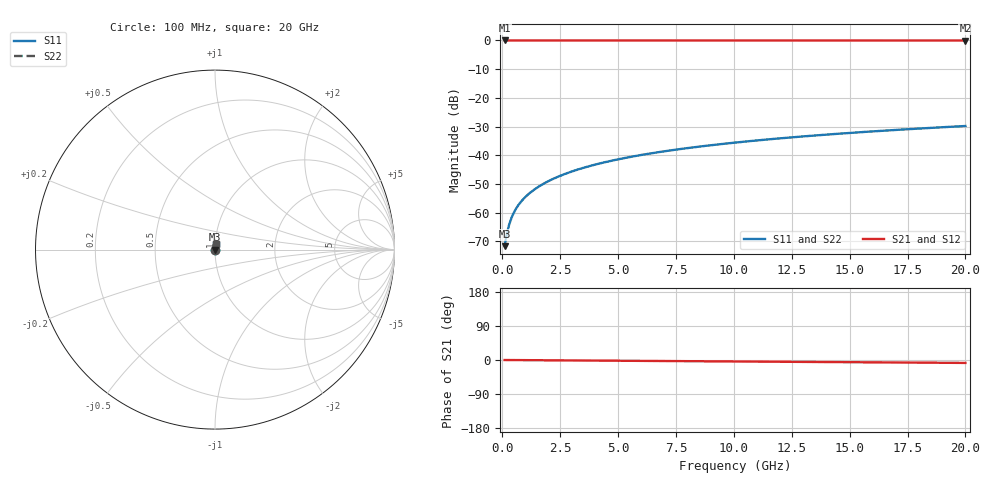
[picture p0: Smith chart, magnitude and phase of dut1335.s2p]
! Touchstone file exported from HFSS 2026.1.0
!  File:  C:/ffzhzh/LocalFiles/Ansys_Project_Files/temp_train_TSV_1335_1783195459_22436.aedt
!  Generated:  04:05:42 AM Jul  5, 2026
!  Design:  TSV
!  Project:  temp_train_TSV_1335_1783195459_22436
! Variables:
!  h_bsmrdl = 2um
!  h_ox = 20um
!  h_rdl = 5um
!  h_sub = 72.79um
!  h_tmrdl = 5um
!  h_tsv = 72.79um
!  h_via = 3um
!  l_bsmrdl = 300um
!  l_sub = 415.98um
!  l_tmrdl = 200um
!  m_sub = 200um
!  pitch = 43.69um
!  r_tsv = 7.99um
!  s_tmrdl = 10um
!  w_bsmrdl = 18um
!  w_sub = 500um
!  w_tmrdl = 12um
!  x_tsv_center1 = 206um
!  x_tsv_center2 = 524um
!  x_tsv_center3 = 736um
!  x_tsv_center4 = 1054um
!  x_tsv_center5 = 1266um
!  x_tsv_center6 = 1584um
# GHz S MA R 50.000000
! Terminal data exported
! Port[1] = TSV1_1_T1
! Port[2] = TSV1_1_T2
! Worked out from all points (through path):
!   200 points, 100 MHz to 20 GHz, reference 50 ohm
!   highest |S21| = 0.00 dB at 100 MHz (marker M1); lowest = 0.0 dB at 20 GHz (marker M2)
!   group delay of S21, straight-line fit = 1.07 ps
!   lowest |S11| = -71.6 dB at 100 MHz (marker M3), VSWR 1.00, Z = 50 + j0.0203 ohm
!   |S11| at or under -10 dB: start of sweep to end of sweep
!   |S22| runs from -71.6 to -29.8 dB; largest |S21 - S12| = 3.2e-15
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0.1  0.0002622 50.6  0.9998 -0.0  0.9998 -0.0  0.0002622 50.6
! Gamma 0 0 0 0
! Port Impedance 50 0 50 0
0.2  0.0004402 66.3  0.9998 -0.1  0.9998 -0.1  0.0004402 66.3
0.3  0.0006301 72.2  0.9998 -0.1  0.9998 -0.1  0.0006301 72.2
0.4  0.0008198 75.0  0.9998 -0.2  0.9998 -0.2  0.0008198 75.0
0.5  0.001006 76.5  0.9998 -0.2  0.9998 -0.2  0.001006 76.5
0.6  0.001189 77.5  0.9997 -0.2  0.9997 -0.2  0.001189 77.5
0.7  0.001369 78.2  0.9997 -0.3  0.9997 -0.3  0.001369 78.2
0.8  0.001545 78.7  0.9997 -0.3  0.9997 -0.3  0.001545 78.7
1  0.00189 79.5  0.9997 -0.4  0.9997 -0.4  0.00189 79.5
1.4  0.002565 80.8  0.9996 -0.6  0.9996 -0.6  0.002565 80.8
1.7  0.003066 81.5  0.9996 -0.7  0.9996 -0.7  0.003066 81.5
2  0.003566 82.0  0.9995 -0.8  0.9995 -0.8  0.003566 82.0
2.7  0.004731 82.8  0.9995 -1.1  0.9995 -1.1  0.004731 82.8
3.5  0.006056 83.2  0.9994 -1.4  0.9994 -1.4  0.006056 83.2
4.2  0.00721 83.4  0.9993 -1.6  0.9993 -1.6  0.00721 83.4
5  0.00852 83.4  0.9993 -1.9  0.9993 -1.9  0.00852 83.4
6.8  0.01144 83.3  0.9991 -2.6  0.9991 -2.6  0.01144 83.3
8.3  0.01386 83.1  0.999 -3.2  0.999 -3.2  0.01386 83.1
10.1  0.01674 82.7  0.9989 -3.9  0.9989 -3.9  0.01674 82.7
13.4  0.022 81.9  0.9986 -5.2  0.9986 -5.2  0.022 81.9
16.7  0.02723 80.9  0.9984 -6.4  0.9984 -6.4  0.02723 80.9
20  0.03241 79.9  0.9981 -7.7  0.9981 -7.7  0.03241 79.9
